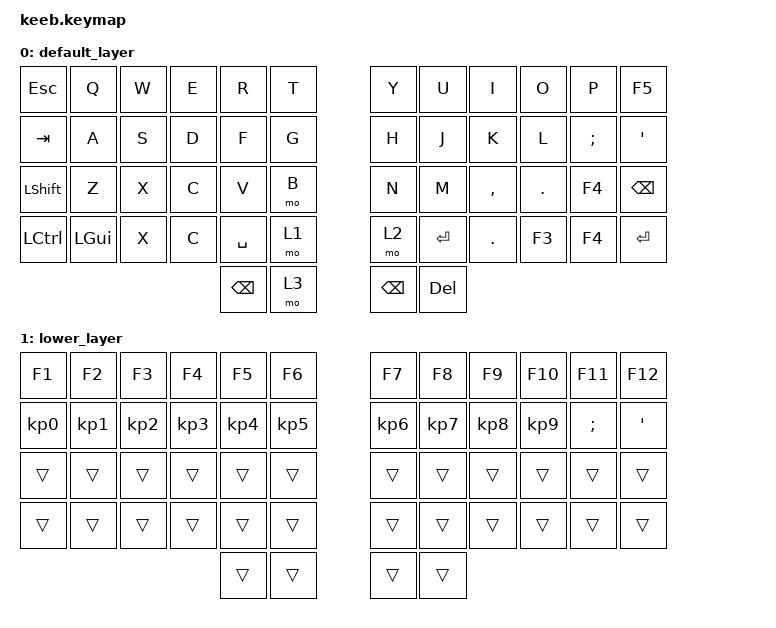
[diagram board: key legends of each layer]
#include <behaviors.dtsi>
#include <dt-bindings/zmk/keys.h>
#include <dt-bindings/zmk/bt.h>

/ {
    keymap {
        compatible = "zmk,keymap";
        default_layer {
            bindings = <
    &kp ESC    &kp Q    &kp W   &kp E   &kp R     &kp T     &kp Y     &kp U     &kp I     &kp O   &kp P    &kp F5
    &kp TAB    &kp A    &kp S   &kp D   &kp F     &kp G     &kp H     &kp J     &kp K     &kp L   &kp SEMI &kp SQT
    &kp LSHFT  &kp Z    &kp X   &kp C   &kp V     &mo B     &kp N     &kp M     &kp COMMA &kp DOT &kp F4   &kp BSPC
    &kp LCTRL  &kp LGUI &kp X   &kp C   &kp SPACE &mo 1     &mo 2     &kp RET   &kp DOT   &kp F3  &kp F4   &kp RET
                                        &kp BSPC  &mo 3     &kp BSPC  &kp DEL
            >;
        };
        lower_layer {
            bindings = <
    &kp F1    &kp F2    &kp F3    &kp F4    &kp F5    &kp F6    &kp F7    &kp F8    &kp F9    &kp F10   &kp F11   &kp F12
    &kp KP_N0 &kp KP_N1 &kp KP_N2 &kp KP_N3 &kp KP_N4 &kp KP_N5 &kp KP_N6 &kp KP_N7 &kp KP_N8 &kp KP_N9 &kp SEMI  &kp SQT
    &trans    &trans    &trans    &trans    &trans    &trans    &trans    &trans    &trans    &trans    &trans    &trans
    &trans    &trans    &trans    &trans    &trans    &trans    &trans    &trans    &trans    &trans    &trans    &trans
                                            &trans    &trans    &trans    &trans
            >;
        };
    };
};
